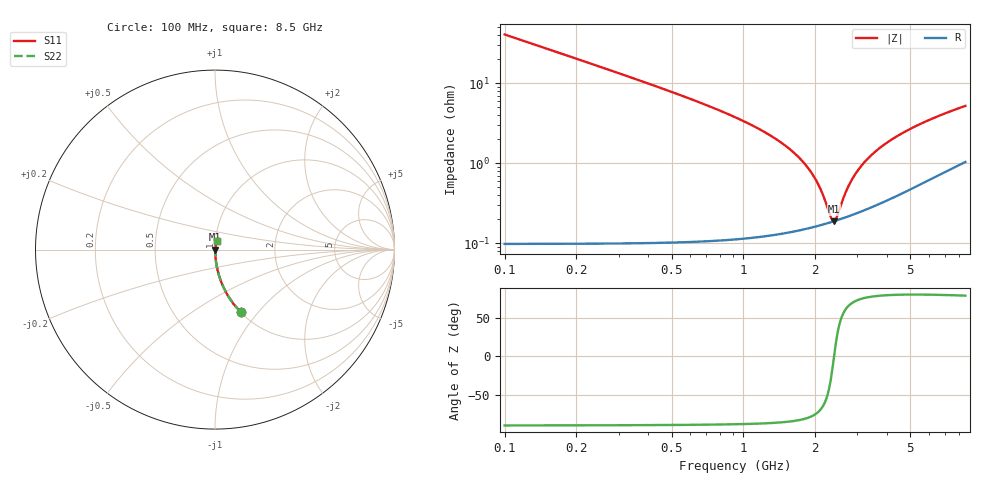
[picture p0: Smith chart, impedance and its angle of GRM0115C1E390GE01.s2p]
!Murata Part Number: GRM0115C1E390GE01
!These Parameters are Measured in Series Mode Connection
!Data Generated on Mar 30, 2021
!  o--ll--o
!Port1  Port2
!  o------o
!Operation Temp=25[degC], DC Bias Voltage=0[V]
!Freq. Start=100[MHz] Stop=9[GHz] 401[Steps]
# Hz S RI R 50
!Freq.(Hz) S11(Real) S11(Imag) S21(Real) S21(Imag) S12(Real) S12(Imag) S22(Real) S22(Imag)
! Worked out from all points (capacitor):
!   401 points, 100 MHz to 8.5 GHz, reference 50 ohm
!   read as one part in series: C = 39 pF near 142 MHz
!   lowest |Z| = 188 mohm at 2.389 GHz (marker M1)
!   series resonance near 2.396 GHz, so ESL is about 110 pH
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1e8  0.1429 -0.3488  0.8571 0.3488  0.8571 0.3488  0.1429 -0.3488
1.84e8  0.0472 -0.2099  0.9528 0.2099  0.9528 0.2099  0.0472 -0.2099
2.68e8  0.023 -0.1467  0.977 0.1467  0.977 0.1467  0.023 -0.1467
3.73e8  0.0122 -0.1053  0.9878 0.1053  0.9878 0.1053  0.0122 -0.1053
4.99e8  0.00708 -0.0776  0.9929 0.0776  0.9929 0.0776  0.00708 -0.0776
8.14e8  0.00304 -0.0441  0.997 0.0441  0.997 0.0441  0.00304 -0.0441
1.507e9  0.0016 -0.0163  0.9984 0.0163  0.9984 0.0163  0.0016 -0.0163
1.759e9  0.00158 -0.0106  0.9984 0.0106  0.9984 0.0106  0.00158 -0.0106
1.948e9  0.00163 -0.00705  0.9984 0.00705  0.9984 0.00705  0.00163 -0.00705
2.116e9  0.0017 -0.00421  0.9983 0.00421  0.9983 0.00421  0.0017 -0.00421
2.326e9  0.00183 -0.00101  0.9982 0.00101  0.9982 0.00101  0.00183 -0.00101
2.389e9  0.00188 -0.000104  0.9981 0.000104  0.9981 0.000104  0.00188 -0.000104
2.452e9  0.00192 0.000772  0.9981 -0.000772  0.9981 -0.000772  0.00192 0.000772
2.704e9  0.00214 0.00407  0.9979 -0.00407  0.9979 -0.00407  0.00214 0.00407
2.914e9  0.00235 0.0066  0.9977 -0.0066  0.9977 -0.0066  0.00235 0.0066
3.166e9  0.00262 0.00943  0.9974 -0.00943  0.9974 -0.00943  0.00262 0.00943
3.46e9  0.00298 0.0125  0.997 -0.0125  0.997 -0.0125  0.00298 0.0125
3.838e9  0.0035 0.0162  0.9965 -0.0162  0.9965 -0.0162  0.0035 0.0162
4.3e9  0.00419 0.0204  0.9958 -0.0204  0.9958 -0.0204  0.00419 0.0204
5.707e9  0.0067 0.0317  0.9933 -0.0317  0.9933 -0.0317  0.0067 0.0317
7.114e9  0.00964 0.0414  0.9904 -0.0414  0.9904 -0.0414  0.00964 0.0414
8.5e9  0.0128 0.0499  0.9872 -0.0499  0.9872 -0.0499  0.0128 0.0499
